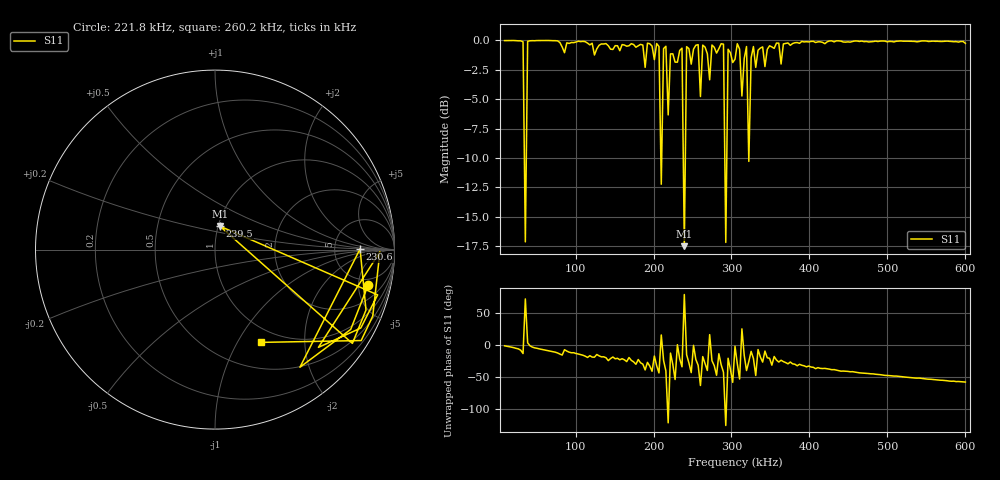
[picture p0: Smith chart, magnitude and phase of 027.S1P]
!Agilent Technologies,E5071C,MY46100265,A.07.02
!Date: Fri Jan 31 11:50:29 2020
!Data & Calibration Information:
!Freq	S11:SOLT1(ON)
# Hz S dB R 50
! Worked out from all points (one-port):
!   201 points, 9 kHz to 600 kHz, reference 50 ohm
!   lowest |S11| = -17.5 dB at 239.5 kHz (marker M1), VSWR 1.31, Z = 50.9 + j13.6 ohm
!   |S11| at or under -10 dB: 34.36 kHz to 36.83 kHz (2.472 kHz wide, 6.95 % of centre); 209.4 kHz to 210.5 kHz (1.131 kHz wide, 0.539 % of centre); 238.2 kHz to 240.8 kHz (2.62 kHz wide, 1.09 % of centre)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
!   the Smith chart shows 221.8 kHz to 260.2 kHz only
!   S11 on the Smith chart (normalised r, x): 221.8 kHz: 3.89, -6.57; 230.6 kHz: 9.43, +0.20; 239.5 kHz: 1.02, +0.27; 260.2 kHz: 0.81, -1.26
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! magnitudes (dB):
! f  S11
! 9 kHz  0.0
! 32.64 kHz  -0.1
! 35.59 kHz  -17.1
! 38.55 kHz  -0.1
! 82.88 kHz  -0.6
! 156.8 kHz  -0.9
! 207 kHz  -0.5
! 209.9 kHz  -12.2
! 212.9 kHz  -0.7
! 218.8 kHz  -6.3
! 221.8 kHz  -1.1
! 230.6 kHz  -1.8
! 236.5 kHz  -0.7
! 239.5 kHz  -17.5
! 242.4 kHz  -0.5
! 260.2 kHz  -4.8
! 289.7 kHz  -0.3
! 292.7 kHz  -17.2
! 295.6 kHz  -0.8
! 304.5 kHz  -1.6
! 319.3 kHz  -0.5
! 322.2 kHz  -10.3
! 325.2 kHz  -1.5
! 328.1 kHz  -0.5
! 378.4 kHz  -0.3
! 452.2 kHz  -0.1
! 526.1 kHz  -0.1
! 600 kHz  -0.2
